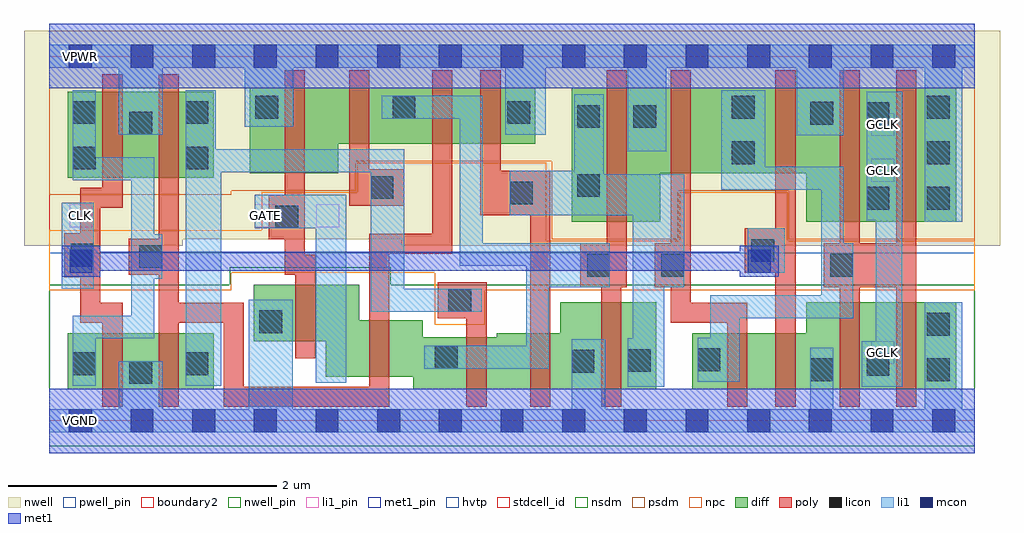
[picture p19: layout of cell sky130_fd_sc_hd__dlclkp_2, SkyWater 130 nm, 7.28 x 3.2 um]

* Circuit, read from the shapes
.subckt sky130_fd_sc_hd__dlclkp_2 CLK GATE GCLK VGND VNB VPB VPWR
XM1 VGND CLK n1 VNB sky130_fd_pr__nfet_01v8 w=0.42 l=0.15
XM2 n2 n1 VGND VNB sky130_fd_pr__nfet_01v8 w=0.42 l=0.15
XM3 n3 GATE VGND VNB sky130_fd_pr__nfet_01v8 w=0.42 l=0.15
XM4 n4 n1 n3 VNB sky130_fd_pr__nfet_01v8 w=0.42 l=0.15
XM5 n5 n2 n4 VNB sky130_fd_pr__nfet_01v8 w=0.39 l=0.15
XM6 VGND n6 n5 VNB sky130_fd_pr__nfet_01v8 w=0.42 l=0.15
XM7 n6 n4 VGND VNB sky130_fd_pr__nfet_01v8 w=0.65 l=0.15
XM8 n7 n6 n8 VNB sky130_fd_pr__nfet_01v8 w=0.42 l=0.15
XM9 VGND CLK n7 VNB sky130_fd_pr__nfet_01v8 w=0.42 l=0.15
XM10 GCLK n8 VGND VNB sky130_fd_pr__nfet_01v8 w=0.65 l=0.15 m=2
XM11 VPWR CLK n1 VPB sky130_fd_pr__pfet_01v8_hvt w=0.64 l=0.15
XM12 n2 n1 VPWR VPB sky130_fd_pr__pfet_01v8_hvt w=0.64 l=0.15
XM13 n9 GATE VPWR VPB sky130_fd_pr__pfet_01v8_hvt w=0.64 l=0.15
XM14 n4 n2 n9 VPB sky130_fd_pr__pfet_01v8_hvt w=0.42 l=0.15
XM15 n10 n1 n4 VPB sky130_fd_pr__pfet_01v8_hvt w=0.42 l=0.15
XM16 VPWR n6 n10 VPB sky130_fd_pr__pfet_01v8_hvt w=0.42 l=0.15
XM17 VPWR n4 n6 VPB sky130_fd_pr__pfet_01v8_hvt w=1 l=0.15
XM18 n8 n6 VPWR VPB sky130_fd_pr__pfet_01v8_hvt w=0.64 l=0.15
XM19 VPWR CLK n8 VPB sky130_fd_pr__pfet_01v8_hvt w=0.64 l=0.15
XM20 GCLK n8 VPWR VPB sky130_fd_pr__pfet_01v8_hvt w=1 l=0.15 m=2
.ends

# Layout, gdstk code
import gdstk
lib = gdstk.Library(unit=1e-6, precision=1e-09)
def R(c, l, rs):  # rectangles x0, y0, x1, y1
    for r in rs: c.add(gdstk.rectangle(r[:2], r[2:], *l))
def A(c, l, x, y, w, h, nx, ny, dx, dy):  # array of equal rectangles
    R(c, l, [(x+i*dx, y+j*dy, x+i*dx+w, y+j*dy+h) for i in range(nx) for j in range(ny)])
def P(c, l, *ps):  # polygons
    for p in ps: c.add(gdstk.Polygon(p, *l))
nwell_pin = (64, 16)
nwell = (64, 20)
diff = (65, 20)
poly = (66, 20)
licon = (66, 44)
li1_pin = (67, 16)
li1 = (67, 20)
mcon = (67, 44)
met1_pin = (68, 16)
met1 = (68, 20)
hvtp = (78, 44)
stdcell_id = (81, 4)
nsdm = (93, 44)
psdm = (94, 20)
npc = (95, 20)
pwell_pin = (122, 16)
boundary2 = (236, 0)

sky130_fd_sc_hd__dlclkp_ = lib.new_cell('sky130_fd_sc_hd__dlclkp_2')
R(sky130_fd_sc_hd__dlclkp_, nwell_pin, [(0.15,2.635,0.32,2.805)])
P(sky130_fd_sc_hd__dlclkp_, nwell, [(7.09,2.91),(-0.19,2.91),(-0.19,1.305),(0.995,1.305),(0.995,1.355),(2.625,1.355),(2.625,1.305),(7.09,1.305)])
R(sky130_fd_sc_hd__dlclkp_, diff, [(0.135,0.235,1.225,0.655), (0.135,1.815,1.225,2.455)])
P(sky130_fd_sc_hd__dlclkp_, diff, [(6.765,0.885),(5.645,0.885),(5.645,0.655),(4.795,0.655),(4.795,0.235),(6.765,0.235)],
  [(6.765,2.485),(3.895,2.485),(3.895,1.485),(4.555,1.485),(4.555,1.845),(5.645,1.845),(5.645,1.485),(6.765,1.485)],
  [(4.525,0.885),(3.81,0.885),(3.81,0.655),(3.335,0.655),(3.335,0.625),(2.785,0.625),(2.785,0.75),(2.31,0.75),(2.31,1.015),(1.525,1.015),(1.525,0.595),(2.06,0.595),(2.06,0.33),(2.715,0.33),(2.715,0.235),(4.525,0.235)],
  [(3.625,2.485),(1.495,2.485),(1.495,1.845),(2.155,1.845),(2.155,2.065),(3.625,2.065)])
R(sky130_fd_sc_hd__dlclkp_, poly, [(4.115,0.105,4.265,1)])
P(sky130_fd_sc_hd__dlclkp_, poly, [(6.465,2.615),(6.315,2.615),(6.315,1.325),(6.045,1.325),(6.045,2.615),(5.895,2.615),(5.895,1.325),(5.775,1.325),(5.775,0.995),(5.895,0.995),(5.895,0.105),(6.045,0.105),(6.045,0.995),(6.315,0.995),(6.315,0.105),(6.465,0.105)],
  [(5.565,2.615),(5.415,2.615),(5.415,1.435),(5.185,1.435),(5.185,1.105),(5.415,1.105),(5.415,0.105),(5.565,0.105)],
  [(5.205,0.88),(4.785,0.88),(4.785,2.615),(4.635,2.615),(4.635,1.325),(4.515,1.325),(4.515,0.995),(4.635,0.995),(4.635,0.73),(5.055,0.73),(5.055,0.105),(5.205,0.105)],
  [(4.305,2.615),(4.155,2.615),(4.155,1.325),(3.96,1.325),(3.96,0.995),(4.305,0.995)],
  [(3.735,1.865),(3.365,1.865),(3.365,2.615),(3.215,2.615),(3.215,1.535),(3.585,1.535),(3.585,0.105),(3.735,0.105)],
  [(1.985,1.24),(1.905,1.24),(1.905,2.615),(1.755,2.615),(1.755,1.685),(1.635,1.685),(1.635,1.355),(1.755,1.355),(1.755,1.09),(1.835,1.09),(1.835,0.465),(1.985,0.465)],
  [(3.26,1.035),(2.895,1.035),(2.895,0.765),(3.11,0.765),(3.11,0.105),(3.26,0.105)],
  [(2.645,1.875),(2.385,1.875),(2.385,2.615),(2.235,2.615),(2.235,1.605),(2.645,1.605)],
  [(0.545,0.88),(0.38,0.88),(0.38,1.59),(0.545,1.59),(0.545,2.585),(0.395,2.585),(0.395,1.74),(0.23,1.74),(0.23,1.4),(0.11,1.4),(0.11,1.07),(0.23,1.07),(0.23,0.73),(0.395,0.73),(0.395,0.105),(0.545,0.105)],
  [(3.005,2.615),(2.855,2.615),(2.855,1.395),(2.385,1.395),(2.385,0.255),(1.45,0.255),(1.45,0.88),(0.965,0.88),(0.965,2.585),(0.815,2.585),(0.815,1.36),(0.59,1.36),(0.59,1.09),(0.815,1.09),(0.815,0.105),(0.965,0.105),(0.965,0.73),(1.3,0.73),(1.3,0.105),(2.535,0.105),(2.535,1.245),(3.005,1.245)])
A(sky130_fd_sc_hd__dlclkp_, licon, 6.545, 1.575, 0.17, 0.17, 1, 3, 0, 0.34)
R(sky130_fd_sc_hd__dlclkp_, licon, [(0.595,0.275,0.765,0.445), (5.675,0.295,5.845,0.465), (6.545,0.295,6.715,0.465), (6.095,0.335,6.265,0.505), (0.175,0.34,0.345,0.51), (1.015,0.34,1.185,0.51), (3.895,0.36,4.065,0.53), (4.315,0.365,4.485,0.535), (4.835,0.37,5.005,0.54), (2.875,0.39,3.045,0.56), (6.545,0.635,6.715,0.805), (1.565,0.655,1.735,0.825), (2.975,0.815,3.145,0.985), (4.01,1.075,4.18,1.245), (4.565,1.075,4.735,1.245), (5.825,1.075,5.995,1.245), (0.67,1.14,0.84,1.31), (0.16,1.15,0.33,1.32), (5.235,1.185,5.405,1.355), (1.685,1.435,1.855,1.605), (6.095,1.575,6.265,1.745), (3.435,1.615,3.605,1.785), (2.395,1.655,2.565,1.825), (3.935,1.67,4.105,1.84), (0.175,1.875,0.345,2.045), (1.015,1.875,1.185,2.045), (5.09,1.915,5.26,2.085), (0.595,2.135,0.765,2.305), (3.935,2.185,4.105,2.355), (4.355,2.185,4.525,2.355), (6.095,2.205,6.265,2.375), (5.675,2.21,5.845,2.38), (0.175,2.215,0.345,2.385), (1.015,2.215,1.185,2.385), (3.415,2.215,3.585,2.385), (1.535,2.255,1.705,2.425), (2.56,2.255,2.73,2.425), (5.09,2.255,5.26,2.425)])
R(sky130_fd_sc_hd__dlclkp_, li1_pin, [(6.13,0.425,6.3,0.595), (0.15,1.445,0.32,1.615), (1.53,1.445,1.7,1.615), (1.99,1.445,2.16,1.615), (6.13,1.785,6.3,1.955), (6.13,2.125,6.3,2.295)])
R(sky130_fd_sc_hd__dlclkp_, li1, [(0.09,0.985,0.33,1.625), (5.21,1.105,5.485,1.435)])
P(sky130_fd_sc_hd__dlclkp_, li1, [(1.53,1.435),(1.53,1.685),(2.215,1.685),(2.215,0.285),(1.985,0.285),(1.985,1.435)],
  [(6.9,0.085),(6.81,0.085),(6.81,0.885),(6.53,0.885),(6.53,0.085),(5.845,0.085),(5.845,0.545),(5.675,0.545),(5.675,0.085),(4.145,0.085),(4.145,0.61),(3.895,0.61),(3.895,0.085),(1.815,0.085),(1.815,0.905),(1.485,0.905),(1.485,0.085),(0.845,0.085),(0.845,0.445),(0.515,0.445),(0.515,0.085),(0,0.085),(0,-0.085),(6.9,-0.085)],
  [(6.9,2.805),(0,2.805),(0,2.635),(0.515,2.635),(0.515,2.135),(0.845,2.135),(0.845,2.635),(1.455,2.635),(1.455,2.195),(1.82,2.195),(1.82,2.635),(3.4,2.635),(3.4,2.135),(3.7,2.135),(3.7,2.635),(4.315,2.635),(4.315,2.01),(4.6,2.01),(4.6,2.635),(5.575,2.635),(5.575,2.13),(5.925,2.13),(5.925,2.635),(6.53,2.635),(6.53,1.485),(6.81,1.485),(6.81,2.635),(6.9,2.635)],
  [(6.36,2.455),(6.095,2.455),(6.095,1.495),(6.165,1.495),(6.165,0.595),(6.06,0.595),(6.06,0.255),(6.36,0.255)],
  [(5.995,1.325),(5.925,1.325),(5.925,1.895),(5.34,1.895),(5.34,2.465),(5.01,2.465),(5.01,1.725),(5.755,1.725),(5.755,0.935),(4.93,0.935),(4.93,0.62),(4.835,0.62),(4.835,0.29),(5.15,0.29),(5.15,0.765),(5.995,0.765)],
  [(4.735,1.84),(4.135,1.84),(4.135,2.435),(3.915,2.435),(3.915,1.865),(3.435,1.865),(3.435,1.535),(4.35,1.535),(4.35,0.615),(4.315,0.615),(4.315,0.255),(4.585,0.255),(4.585,0.995),(4.735,0.995)],
  [(4.18,1.325),(3.23,1.325),(3.23,2.425),(2.48,2.425),(2.48,2.255),(3.06,2.255),(3.06,1.155),(3.555,1.155),(3.555,0.56),(2.795,0.56),(2.795,0.39),(3.725,0.39),(3.725,0.995),(4.18,0.995)],
  [(3.225,0.985),(2.645,0.985),(2.645,2.025),(1.24,2.025),(1.24,2.465),(1.015,2.465),(1.015,0.26),(1.28,0.26),(1.28,1.855),(2.395,1.855),(2.395,0.815),(3.225,0.815)],
  [(0.84,1.39),(0.78,1.39),(0.78,1.965),(0.345,1.965),(0.345,2.465),(0.175,2.465),(0.175,1.795),(0.61,1.795),(0.61,0.785),(0.175,0.785),(0.175,0.26),(0.345,0.26),(0.345,0.615),(0.78,0.615),(0.78,1.06),(0.84,1.06)])
A(sky130_fd_sc_hd__dlclkp_, mcon, 0.145, -0.085, 0.17, 0.17, 15, 2, 0.46, 2.72)
R(sky130_fd_sc_hd__dlclkp_, mcon, [(0.15,1.105,0.32,1.275), (5.21,1.105,5.38,1.275)])
R(sky130_fd_sc_hd__dlclkp_, met1_pin, [(0.15,-0.085,0.32,0.085), (0.15,2.635,0.32,2.805)])
P(sky130_fd_sc_hd__dlclkp_, met1, [(5.44,1.305),(5.15,1.305),(5.15,1.26),(0.38,1.26),(0.38,1.305),(0.09,1.305),(0.09,1.075),(0.38,1.075),(0.38,1.12),(5.15,1.12),(5.15,1.075),(5.44,1.075)])
R(sky130_fd_sc_hd__dlclkp_, hvtp, [(0,1.25,6.9,2.72)])
R(sky130_fd_sc_hd__dlclkp_, stdcell_id, [(0,0,6.9,2.72)])
P(sky130_fd_sc_hd__dlclkp_, nsdm, [(6.9,1.015),(2.545,1.015),(2.545,1.145),(1.345,1.145),(1.345,1.015),(0,1.015),(0,-0.19),(6.9,-0.19)])
P(sky130_fd_sc_hd__dlclkp_, psdm, [(6.9,2.91),(0,2.91),(0,1.685),(1.355,1.685),(1.355,1.715),(2.285,1.715),(2.285,1.935),(3.745,1.935),(3.745,1.355),(4.69,1.355),(4.69,1.715),(5.515,1.715),(5.515,1.355),(6.9,1.355)])
P(sky130_fd_sc_hd__dlclkp_, npc, [(6.9,1.345),(5.505,1.345),(5.505,1.705),(4.7,1.705),(4.7,1.345),(3.705,1.345),(3.705,1.925),(2.295,1.925),(2.295,1.705),(1.585,1.705),(1.585,1.42),(0,1.42),(0,0.975),(1.355,0.975),(1.355,1.105),(2.875,1.105),(2.875,0.715),(3.245,0.715),(3.245,0.975),(6.9,0.975)])
R(sky130_fd_sc_hd__dlclkp_, pwell_pin, [(0.15,-0.085,0.32,0.085)])
R(sky130_fd_sc_hd__dlclkp_, boundary2, [(0,0,6.9,2.72)])
sky130_fd_sc_hd__dlclkp_.add(gdstk.FlexPath([(0,0),(6.9,0)], 0.48, ends="flush", simple_path=True, layer=68, datatype=20))  # met1
sky130_fd_sc_hd__dlclkp_.add(gdstk.FlexPath([(0,2.72),(6.9,2.72)], 0.48, ends="flush", simple_path=True, layer=68, datatype=20))  # met1
sky130_fd_sc_hd__dlclkp_.add(gdstk.Label('GATE', (1.615,1.53), layer=67, texttype=5))
sky130_fd_sc_hd__dlclkp_.add(gdstk.Label('GCLK', (6.215,0.51), layer=67, texttype=5))
sky130_fd_sc_hd__dlclkp_.add(gdstk.Label('GCLK', (6.215,2.21), layer=67, texttype=5))
sky130_fd_sc_hd__dlclkp_.add(gdstk.Label('GCLK', (6.215,1.87), layer=67, texttype=5))
sky130_fd_sc_hd__dlclkp_.add(gdstk.Label('CLK', (0.235,1.53), layer=67, texttype=5))
sky130_fd_sc_hd__dlclkp_.add(gdstk.Label('VGND', (0.23,0), layer=68, texttype=5))
sky130_fd_sc_hd__dlclkp_.add(gdstk.Label('VPWR', (0.23,2.72), layer=68, texttype=5))
sky130_fd_sc_hd__dlclkp_.add(gdstk.Label('VPB', (0.235,2.72), layer=64, texttype=5))
sky130_fd_sc_hd__dlclkp_.add(gdstk.Label('VNB', (0.235,0), layer=64, texttype=59))
sky130_fd_sc_hd__dlclkp_.add(gdstk.Label('dlclkp_2', (0,0), layer=83, texttype=44))

lib.write_gds('sky130_fd_sc_hd__dlclkp_2.gds')
